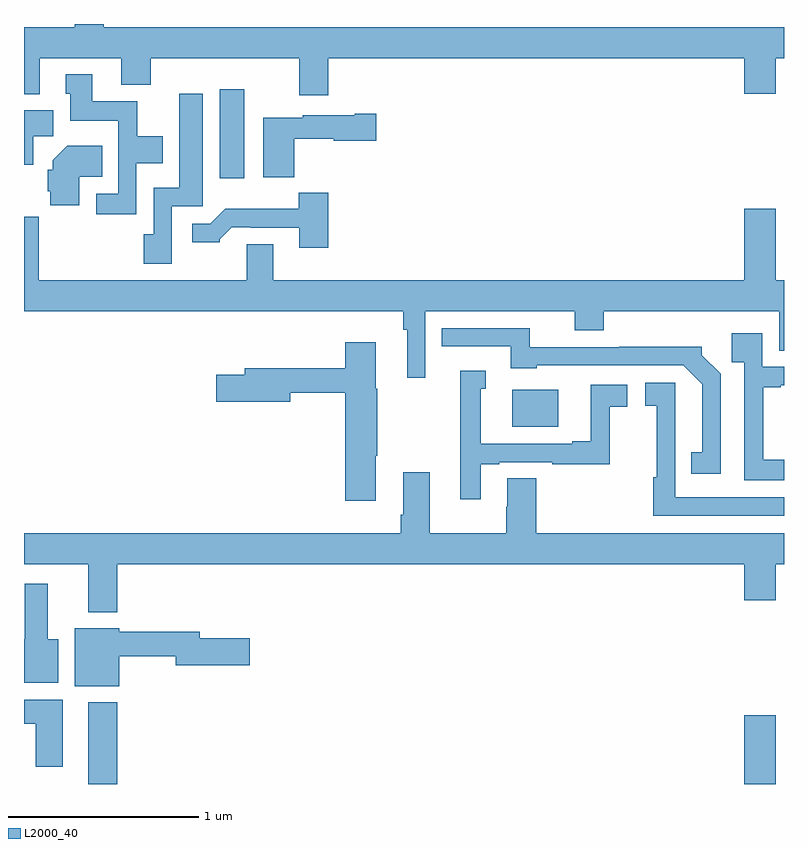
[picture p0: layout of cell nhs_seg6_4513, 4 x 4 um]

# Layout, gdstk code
import gdstk
lib = gdstk.Library(unit=1e-6, precision=1e-09)
def R(c, l, rs):  # rectangles x0, y0, x1, y1
    for r in rs: c.add(gdstk.rectangle(r[:2], r[2:], *l))
def P(c, l, *ps):  # polygons
    for p in ps: c.add(gdstk.Polygon(p, *l))
L2000_40 = (2000, 40)

nhs_seg6_4513 = lib.new_cell('nhs_seg6_4513')
R(nhs_seg6_4513, L2000_40, [(377.339,959.5,377.492,959.929), (380.792,959.5,380.956,959.863), (379.571,961.379,379.813,961.576), (378.029,962.688,378.16,963.157)])
P(nhs_seg6_4513, L2000_40, [(378.602,963.32),(380.792,963.32),(380.792,963.132),(380.956,963.132),(380.956,963.32),(381,963.32),(381,963.484),(377.42,963.484),(377.42,963.5),(377.267,963.5),(377.267,963.484),(377,963.484),(377,963.131),(377.083,963.131),(377.083,963.32),(377.513,963.32),(377.513,963.179),(377.666,963.179),(377.666,963.32),(378.449,963.32),(378.449,963.126),(378.602,963.126)],
  [(377.592,962.768),(377.731,962.768),(377.731,962.908),(377.595,962.908),(377.595,963.094),(377.359,963.094),(377.359,963.235),(377.219,963.235),(377.219,963.132),(377.243,963.132),(377.243,962.99),(377.496,962.99),(377.496,962.607),(377.379,962.607),(377.379,962.499),(377.592,962.499)],
  [(377.778,962.541),(377.941,962.541),(377.941,963.133),(377.816,963.133),(377.816,962.638),(377.682,962.638),(377.682,962.394),(377.63,962.394),(377.63,962.238),(377.778,962.238)],
  [(377.049,962.908),(377.155,962.908),(377.155,963.046),(377,963.046),(377,962.76),(377.049,962.76)],
  [(378.422,962.897),(378.63,962.897),(378.63,962.885),(378.853,962.885),(378.853,963.027),(378.74,963.027),(378.74,963.019),(378.468,963.019),(378.468,963.007),(378.26,963.007),(378.26,962.693),(378.422,962.693)],
  [(377.29,962.696),(377.411,962.696),(377.411,962.86),(377.228,962.86),(377.15,962.782),(377.15,962.733),(377.126,962.733),(377.126,962.619),(377.138,962.619),(377.138,962.546),(377.29,962.546)],
  [(378.602,962.611),(378.447,962.611),(378.447,962.527),(378.058,962.527),(377.979,962.448),(377.886,962.448),(377.886,962.351),(378.03,962.351),(378.03,962.366),(378.094,962.43),(378.193,962.43),(378.193,962.427),(378.449,962.427),(378.449,962.322),(378.602,962.322)],
  [(379.113,961.988),(379.898,961.988),(379.898,961.889),(380.051,961.889),(380.051,961.988),(380.975,961.988),(380.975,961.78),(381,961.78),(381,962.152),(380.956,962.152),(380.956,962.527),(380.792,962.527),(380.792,962.152),(378.313,962.152),(378.313,962.342),(378.173,962.342),(378.173,962.152),(377.078,962.152),(377.078,962.485),(377,962.485),(377,961.988),(378.997,961.988),(378.997,961.892),(379.016,961.892),(379.016,961.638),(379.113,961.638)],
  [(380.667,961.658),(380.568,961.757),(380.568,961.802),(380.134,961.802),(380.134,961.8),(379.662,961.8),(379.662,961.899),(379.198,961.899),(379.198,961.803),(379.562,961.803),(379.562,961.688),(379.698,961.688),(379.698,961.704),(380.469,961.704),(380.57,961.603),(380.57,961.247),(380.512,961.247),(380.512,961.134),(380.667,961.134)],
  [(381,961.207),(380.891,961.207),(380.891,961.587),(380.983,961.587),(380.983,961.599),(381,961.599),(381,961.695),(380.886,961.695),(380.886,961.873),(380.725,961.873),(380.725,961.721),(380.79,961.721),(380.79,961.098),(381,961.098)],
  [(378.85,961.228),(378.858,961.228),(378.858,961.581),(378.85,961.581),(378.85,961.825),(378.692,961.825),(378.692,961.687),(378.161,961.687),(378.161,961.653),(378.012,961.653),(378.012,961.511),(378.4,961.511),(378.4,961.558),(378.692,961.558),(378.692,960.99),(378.85,960.99)],
  [(379.405,961.182),(379.501,961.182),(379.501,961.194),(379.78,961.194),(379.78,961.182),(380.082,961.182),(380.082,961.486),(380.176,961.486),(380.176,961.602),(379.982,961.602),(379.982,961.303),(379.886,961.303),(379.886,961.29),(379.405,961.29),(379.405,961.581),(379.429,961.581),(379.429,961.675),(379.296,961.675),(379.296,961.243),(379.295,961.243),(379.295,960.999),(379.405,960.999)],
  [(381,961.008),(380.427,961.008),(380.427,961.336),(380.428,961.336),(380.428,961.612),(380.271,961.612),(380.271,961.491),(380.329,961.491),(380.329,961.115),(380.311,961.115),(380.311,960.912),(381,960.912)],
  [(377.492,960.656),(380.792,960.656),(380.792,960.468),(380.956,960.468),(380.956,960.656),(381,960.656),(381,960.82),(379.697,960.82),(379.697,961.109),(379.544,961.109),(379.544,960.959),(379.537,960.959),(379.537,960.82),(379.135,960.82),(379.135,961.141),(378.995,961.141),(378.995,960.916),(378.983,960.916),(378.983,960.82),(377,960.82),(377,960.656),(377.339,960.656),(377.339,960.404),(377.492,960.404)],
  [(377.179,960.262),(377.125,960.262),(377.125,960.553),(377.003,960.553),(377.003,960.262),(377,960.262),(377,960.032),(377.179,960.032)],
  [(377.5,960.172),(377.798,960.172),(377.798,960.125),(378.187,960.125),(378.187,960.267),(377.926,960.267),(377.926,960.301),(377.5,960.301),(377.5,960.319),(377.267,960.319),(377.267,960.014),(377.5,960.014)],
  [(377.203,959.944),(377,959.944),(377,959.816),(377.063,959.816),(377.063,959.592),(377.203,959.592)])

lib.write_gds('nhs_seg6_4513.gds')
